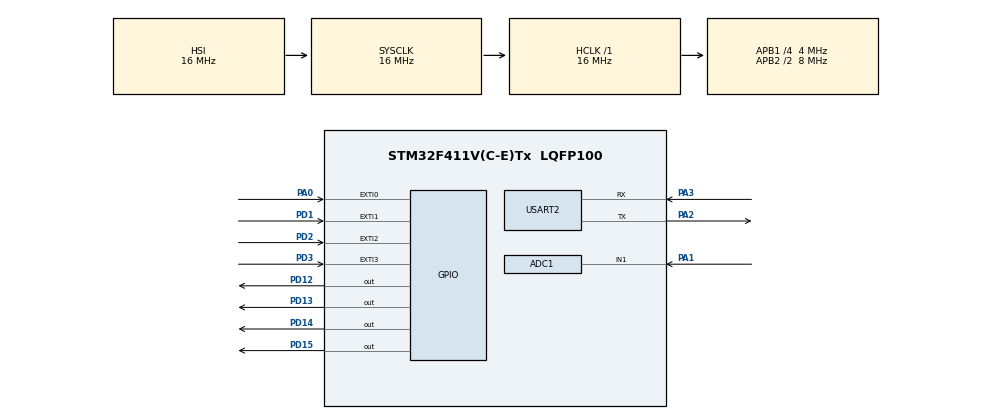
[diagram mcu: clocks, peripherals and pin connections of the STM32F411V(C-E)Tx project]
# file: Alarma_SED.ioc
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ADC1.Channel-0\#ChannelRegularConversion=ADC_CHANNEL_1
ADC1.NbrOfConversionFlag=1
ADC1.Rank-0\#ChannelRegularConversion=1
ADC1.Resolution=ADC_RESOLUTION_8B
ADC1.SamplingTime-0\#ChannelRegularConversion=ADC_SAMPLETIME_3CYCLES
ADC1.master=1
Mcu.Family=STM32F4
Mcu.Name=STM32F411V(C-E)Tx
Mcu.Package=LQFP100
NVIC.EXTI0_IRQn=true\:0\:0\:false\:false\:true\:true\:true\:true
NVIC.EXTI1_IRQn=true\:0\:0\:false\:false\:true\:true\:true\:true
NVIC.EXTI2_IRQn=true\:0\:0\:false\:false\:true\:true\:true\:true
NVIC.EXTI3_IRQn=true\:0\:0\:false\:false\:true\:true\:true\:true
NVIC.PriorityGroup=NVIC_PRIORITYGROUP_0
NVIC.TIM2_IRQn=true\:0\:0\:false\:false\:true\:true\:true\:true
PA0-WKUP.Signal=GPXTI0
PA1.Signal=ADCx_IN1
PA2.Mode=Asynchronous
PA2.Signal=USART2_TX
PA3.Mode=Asynchronous
PA3.Signal=USART2_RX
PD1.GPIO_PuPd=GPIO_PULLUP
PD1.Signal=GPXTI1
PD12.Signal=GPIO_Output
PD13.Signal=GPIO_Output
PD14.Signal=GPIO_Output
PD15.Signal=GPIO_Output
PD2.GPIO_PuPd=GPIO_PULLUP
PD2.Signal=GPXTI2
PD3.GPIO_PuPd=GPIO_PULLUP
PD3.Signal=GPXTI3
ProjectManager.HeapSize=0x200
ProjectManager.StackSize=0x400
ProjectManager.TargetToolchain=STM32CubeIDE
RCC.48MHZClocksFreq_Value=48000000
RCC.AHBFreq_Value=16000000
RCC.APB1CLKDivider=RCC_HCLK_DIV4
RCC.APB1Freq_Value=4000000
RCC.APB1TimFreq_Value=8000000
RCC.APB2CLKDivider=RCC_HCLK_DIV2
RCC.APB2Freq_Value=8000000
RCC.APB2TimFreq_Value=16000000
RCC.CortexFreq_Value=16000000
RCC.HCLKFreq_Value=16000000
RCC.HSE_VALUE=8000000
RCC.HSI_VALUE=16000000
RCC.LSE_VALUE=32768
RCC.PLLI2SM=5
RCC.PLLI2SN=200
RCC.PLLM=8
RCC.PLLP=RCC_PLLP_DIV4
RCC.PLLQ=8
RCC.SYSCLKFreq_VALUE=16000000
RCC.VCOOutputFreq_Value=384000000
SH.ADCx_IN1.0=ADC1_IN1,IN1
TIM2.CounterMode=TIM_COUNTERMODE_DOWN
TIM2.Period=5000-1
TIM2.Prescaler=16000-1
TIM2.TIM_MasterOutputTrigger=TIM_TRGO_RESET
USART2.VirtualMode=VM_ASYNC
VP_TIM2_VS_ClockSourceINT.Mode=Internal
board=STM32F411E-DISCO

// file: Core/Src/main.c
/* USER CODE BEGIN Header */
/**
  ******************************************************************************
  * @file           : main.c
  * @brief          : Main program body
  ******************************************************************************
  * @attention
  *
  * Copyright (c) 2024 STMicroelectronics.
  * All rights reserved.
  *
  * This software is licensed under terms that can be found in the LICENSE file
  * in the root directory of this software component.
  * If no LICENSE file comes with this software, it is provided AS-IS.
  *
  ******************************************************************************
  */
/* USER CODE END Header */
#include "main.h"

/* USER CODE BEGIN Includes */
#include <stdio.h>
#include <string.h>
/* USER CODE END Includes */

/* USER CODE BEGIN PD */
#define ALARM_OFF  0
#define ALARM_ON   1
#define ALARM_TEMP 2
#define ALARM_CALL 3

/* USER CODE END PD */

ADC_HandleTypeDef hadc1;

TIM_HandleTypeDef htim2;

UART_HandleTypeDef huart2;

void SystemClock_Config(void);
static void MX_GPIO_Init(void);
static void MX_TIM2_Init(void);
static void MX_USART2_UART_Init(void);
static void MX_ADC1_Init(void);

/* USER CODE BEGIN 0 */
uint8_t alarm_flag = 0;
uint8_t time_out = 0;
uint8_t n_digits = 0;
uint8_t password_in[3];
/* USER CODE END 0 */

int main(void)
{
  /* USER CODE BEGIN 1 */
	uint8_t state = ALARM_OFF;
	uint8_t password[3] = {1, 2, 3};
	uint8_t attempts = 3;
	uint32_t timeLed;
	char msg[50];
	uint32_t pot_val;

  /* USER CODE END 1 */

  /* MCU Configuration--------------------------------------------------------*/

  /* Reset of all peripherals, Initializes the Flash interface and the Systick. */
  HAL_Init();

  /* Configure the system clock */
  SystemClock_Config();

  /* Initialize all configured peripherals */
  MX_GPIO_Init();
  MX_TIM2_Init();
  MX_USART2_UART_Init();
  MX_ADC1_Init();

  /* Infinite loop */
  while (1)
  {

    /* USER CODE BEGIN 3 */
	  switch(state)
	  {
	  case ALARM_OFF:
		  if(alarm_flag)
		  {
			  HAL_GPIO_WritePin(GPIOD, GPIO_PIN_12, GPIO_PIN_SET);
			  sprintf(msg, "Introduce the password:\n");
			  HAL_UART_Transmit(&huart2, (uint8_t*)msg, strlen(msg), HAL_MAX_DELAY);
			  state = ALARM_ON;
		  }
		  break;

	  case ALARM_ON:
		  if(time_out)
		  {
			  HAL_GPIO_WritePin(GPIOD, GPIO_PIN_13, GPIO_PIN_SET);
			  state = ALARM_CALL;
		  }
		  else if(n_digits == 3) //Comprobación de la contraseña
		  {
			  if(password_in[0] == password[0] && password_in[1] == password[1] && password_in[2] == password[2])
			  {
				  sprintf(msg, "Correct password. Welcome!!\n");
				  HAL_UART_Transmit(&huart2, (uint8_t*)msg, strlen(msg), HAL_MAX_DELAY);
				  HAL_TIM_Base_Stop_IT(&htim2);
				  state = ALARM_TEMP;
			  }
			  else
			  {
				  sprintf(msg, "Incorrect password.\n");
				  HAL_UART_Transmit(&huart2, (uint8_t*)msg, strlen(msg), HAL_MAX_DELAY);
				  HAL_GPIO_WritePin(GPIOD, GPIO_PIN_14, GPIO_PIN_SET);
				  HAL_Delay(200);
				  HAL_GPIO_WritePin(GPIOD, GPIO_PIN_14, GPIO_PIN_RESET);
				  attempts--;
				  if(attempts == 0)
				  {
					  HAL_TIM_Base_Stop_IT(&htim2);
					  state = ALARM_CALL;
				  }
				  n_digits = 0;
			  }
			  HAL_NVIC_EnableIRQ(EXTI1_IRQn);
			  HAL_NVIC_EnableIRQ(EXTI2_IRQn);
			  HAL_NVIC_EnableIRQ(EXTI3_IRQn);
		  }
	  	  break;

	  case ALARM_TEMP:
		  HAL_GPIO_WritePin(GPIOD, GPIO_PIN_12, GPIO_PIN_RESET);
		  sprintf(msg, "What temperature do you want?\n");
		  HAL_UART_Transmit(&huart2, (uint8_t*)msg, strlen(msg), HAL_MAX_DELAY);
		  HAL_ADC_Start(&hadc1);
		  if(HAL_ADC_PollForConversion(&hadc1, HAL_MAX_DELAY) == HAL_OK)
		  {
			  pot_val = HAL_ADC_GetValue(&hadc1);
			  HAL_ADC_Stop(&hadc1);
		  }
		  sprintf(msg, "Desired temperature: %lu Celsius\n", ((pot_val*20)/255 + 15));
		  HAL_UART_Transmit(&huart2, (uint8_t*)msg, strlen(msg), HAL_MAX_DELAY);
		  HAL_Delay(10000);
		  break;

	  case ALARM_CALL:
		  timeLed = HAL_GetTick();
		  while(1)
		  {
			  if(HAL_GetTick() - timeLed > 800)
			  {
				 HAL_GPIO_WritePin(GPIOD, GPIO_PIN_15, GPIO_PIN_RESET);
				 HAL_GPIO_WritePin(GPIOD, GPIO_PIN_12, GPIO_PIN_SET);
				 timeLed = HAL_GetTick();
				 sprintf(msg, "Calling the police...\n");
				 HAL_UART_Transmit(&huart2, (uint8_t*)msg, strlen(msg), HAL_MAX_DELAY);
			  }
			  if(HAL_GetTick() - timeLed > 600)
			  {
				  HAL_GPIO_WritePin(GPIOD, GPIO_PIN_14, GPIO_PIN_RESET);
				  HAL_GPIO_WritePin(GPIOD, GPIO_PIN_15, GPIO_PIN_SET);
			  }
			  else if(HAL_GetTick() - timeLed > 400)
			  {
				  HAL_GPIO_WritePin(GPIOD, GPIO_PIN_13, GPIO_PIN_RESET);
				  HAL_GPIO_WritePin(GPIOD, GPIO_PIN_14, GPIO_PIN_SET);
			  }
			  else if(HAL_GetTick() - timeLed > 200)
			  {
				  HAL_GPIO_WritePin(GPIOD, GPIO_PIN_12, GPIO_PIN_RESET);
				  HAL_GPIO_WritePin(GPIOD, GPIO_PIN_13, GPIO_PIN_SET);
			  }
		  }
		  break;
	  }
  }
  /* USER CODE END 3 */
}

void SystemClock_Config(void)
{
  RCC_OscInitTypeDef RCC_OscInitStruct = {0};
  RCC_ClkInitTypeDef RCC_ClkInitStruct = {0};

  /** Configure the main internal regulator output voltage
  */
  __HAL_RCC_PWR_CLK_ENABLE();
  __HAL_PWR_VOLTAGESCALING_CONFIG(PWR_REGULATOR_VOLTAGE_SCALE1);

  /** Initializes the RCC Oscillators according to the specified parameters
  * in the RCC_OscInitTypeDef structure.
  */
  RCC_OscInitStruct.OscillatorType = RCC_OSCILLATORTYPE_HSI;
  RCC_OscInitStruct.HSIState = RCC_HSI_ON;
  RCC_OscInitStruct.HSICalibrationValue = RCC_HSICALIBRATION_DEFAULT;
  RCC_OscInitStruct.PLL.PLLState = RCC_PLL_NONE;
  if (HAL_RCC_OscConfig(&RCC_OscInitStruct) != HAL_OK)
  {
    Error_Handler();
  }

  /** Initializes the CPU, AHB and APB buses clocks
  */
  RCC_ClkInitStruct.ClockType = RCC_CLOCKTYPE_HCLK|RCC_CLOCKTYPE_SYSCLK
                              |RCC_CLOCKTYPE_PCLK1|RCC_CLOCKTYPE_PCLK2;
  RCC_ClkInitStruct.SYSCLKSource = RCC_SYSCLKSOURCE_HSI;
  RCC_ClkInitStruct.AHBCLKDivider = RCC_SYSCLK_DIV1;
  RCC_ClkInitStruct.APB1CLKDivider = RCC_HCLK_DIV4;
  RCC_ClkInitStruct.APB2CLKDivider = RCC_HCLK_DIV2;

  if (HAL_RCC_ClockConfig(&RCC_ClkInitStruct, FLASH_LATENCY_0) != HAL_OK)
  {
    Error_Handler();
  }
}

static void MX_ADC1_Init(void)
{

  ADC_ChannelConfTypeDef sConfig = {0};

  /** Configure the global features of the ADC (Clock, Resolution, Data Alignment and number of conversion)
  */
  hadc1.Instance = ADC1;
  hadc1.Init.ClockPrescaler = ADC_CLOCK_SYNC_PCLK_DIV2;
  hadc1.Init.Resolution = ADC_RESOLUTION_8B;
  hadc1.Init.ScanConvMode = DISABLE;
  hadc1.Init.ContinuousConvMode = DISABLE;
  hadc1.Init.DiscontinuousConvMode = DISABLE;
  hadc1.Init.ExternalTrigConvEdge = ADC_EXTERNALTRIGCONVEDGE_NONE;
  hadc1.Init.ExternalTrigConv = ADC_SOFTWARE_START;
  hadc1.Init.DataAlign = ADC_DATAALIGN_RIGHT;
  hadc1.Init.NbrOfConversion = 1;
  hadc1.Init.DMAContinuousRequests = DISABLE;
  hadc1.Init.EOCSelection = ADC_EOC_SINGLE_CONV;
  if (HAL_ADC_Init(&hadc1) != HAL_OK)
  {
    Error_Handler();
  }

  /** Configure for the selected ADC regular channel its corresponding rank in the sequencer and its sample time.
  */
  sConfig.Channel = ADC_CHANNEL_1;
  sConfig.Rank = 1;
  sConfig.SamplingTime = ADC_SAMPLETIME_3CYCLES;
  if (HAL_ADC_ConfigChannel(&hadc1, &sConfig) != HAL_OK)
  {
    Error_Handler();
  }

}

static void MX_TIM2_Init(void)
{

  TIM_ClockConfigTypeDef sClockSourceConfig = {0};
  TIM_MasterConfigTypeDef sMasterConfig = {0};

  htim2.Instance = TIM2;
  htim2.Init.Prescaler = 16000-1;
  htim2.Init.CounterMode = TIM_COUNTERMODE_DOWN;
  htim2.Init.Period = 5000-1;
  htim2.Init.ClockDivision = TIM_CLOCKDIVISION_DIV1;
  htim2.Init.AutoReloadPreload = TIM_AUTORELOAD_PRELOAD_DISABLE;
  if (HAL_TIM_Base_Init(&htim2) != HAL_OK)
  {
    Error_Handler();
  }
  sClockSourceConfig.ClockSource = TIM_CLOCKSOURCE_INTERNAL;
  if (HAL_TIM_ConfigClockSource(&htim2, &sClockSourceConfig) != HAL_OK)
  {
    Error_Handler();
  }
  sMasterConfig.MasterOutputTrigger = TIM_TRGO_RESET;
  sMasterConfig.MasterSlaveMode = TIM_MASTERSLAVEMODE_DISABLE;
  if (HAL_TIMEx_MasterConfigSynchronization(&htim2, &sMasterConfig) != HAL_OK)
  {
    Error_Handler();
  }

}

static void MX_USART2_UART_Init(void)
{

  huart2.Instance = USART2;
  huart2.Init.BaudRate = 115200;
  huart2.Init.WordLength = UART_WORDLENGTH_8B;
  huart2.Init.StopBits = UART_STOPBITS_1;
  huart2.Init.Parity = UART_PARITY_NONE;
  huart2.Init.Mode = UART_MODE_TX_RX;
  huart2.Init.HwFlowCtl = UART_HWCONTROL_NONE;
  huart2.Init.OverSampling = UART_OVERSAMPLING_16;
  if (HAL_UART_Init(&huart2) != HAL_OK)
  {
    Error_Handler();
  }

}

static void MX_GPIO_Init(void)
{
  GPIO_InitTypeDef GPIO_InitStruct = {0};

  /* GPIO Ports Clock Enable */
  __HAL_RCC_GPIOA_CLK_ENABLE();
  __HAL_RCC_GPIOD_CLK_ENABLE();

  /*Configure GPIO pin Output Level */
  HAL_GPIO_WritePin(GPIOD, GPIO_PIN_12|GPIO_PIN_13|GPIO_PIN_14|GPIO_PIN_15, GPIO_PIN_RESET);

  /*Configure GPIO pin : PA0 */
  GPIO_InitStruct.Pin = GPIO_PIN_0;
  GPIO_InitStruct.Mode = GPIO_MODE_IT_RISING;
  GPIO_InitStruct.Pull = GPIO_NOPULL;
  HAL_GPIO_Init(GPIOA, &GPIO_InitStruct);

  /*Configure GPIO pins : PD12 PD13 PD14 PD15 */
  GPIO_InitStruct.Pin = GPIO_PIN_12|GPIO_PIN_13|GPIO_PIN_14|GPIO_PIN_15;
  GPIO_InitStruct.Mode = GPIO_MODE_OUTPUT_PP;
  GPIO_InitStruct.Pull = GPIO_NOPULL;
  GPIO_InitStruct.Speed = GPIO_SPEED_FREQ_LOW;
  HAL_GPIO_Init(GPIOD, &GPIO_InitStruct);

  /*Configure GPIO pins : PD1 PD2 PD3 */
  GPIO_InitStruct.Pin = GPIO_PIN_1|GPIO_PIN_2|GPIO_PIN_3;
  GPIO_InitStruct.Mode = GPIO_MODE_IT_RISING;
  GPIO_InitStruct.Pull = GPIO_PULLUP;
  HAL_GPIO_Init(GPIOD, &GPIO_InitStruct);

  /* EXTI interrupt init*/
  HAL_NVIC_SetPriority(EXTI0_IRQn, 0, 0);
  HAL_NVIC_EnableIRQ(EXTI0_IRQn);

  HAL_NVIC_SetPriority(EXTI1_IRQn, 0, 0);
  HAL_NVIC_EnableIRQ(EXTI1_IRQn);

  HAL_NVIC_SetPriority(EXTI2_IRQn, 0, 0);
  HAL_NVIC_EnableIRQ(EXTI2_IRQn);

  HAL_NVIC_SetPriority(EXTI3_IRQn, 0, 0);
  HAL_NVIC_EnableIRQ(EXTI3_IRQn);

/* USER CODE BEGIN MX_GPIO_Init_2 */
  HAL_NVIC_DisableIRQ(EXTI1_IRQn);
  HAL_NVIC_DisableIRQ(EXTI2_IRQn);
  HAL_NVIC_DisableIRQ(EXTI3_IRQn);
/* USER CODE END MX_GPIO_Init_2 */
}

/* USER CODE BEGIN 4 */
void HAL_GPIO_EXTI_Callback(uint16_t GPIO_Pin)
{
	if(GPIO_Pin == GPIO_PIN_0)
	{
		alarm_flag = 1;
		__HAL_TIM_CLEAR_FLAG(&htim2, TIM_IT_UPDATE);
		HAL_TIM_Base_Start_IT(&htim2);
		HAL_NVIC_DisableIRQ(EXTI0_IRQn);
		HAL_NVIC_EnableIRQ(EXTI1_IRQn);
		HAL_NVIC_EnableIRQ(EXTI2_IRQn);
		HAL_NVIC_EnableIRQ(EXTI3_IRQn);
	}
	if(GPIO_Pin == GPIO_PIN_1)
	{
		password_in[n_digits++] = 1;
		HAL_NVIC_DisableIRQ(EXTI1_IRQn);
	}
	if(GPIO_Pin == GPIO_PIN_2)
	{
		password_in[n_digits++] = 2;
		HAL_NVIC_DisableIRQ(EXTI2_IRQn);
	}
	if(GPIO_Pin == GPIO_PIN_3)
	{
		password_in[n_digits++] = 3;
		HAL_NVIC_DisableIRQ(EXTI3_IRQn);
	}
}

void HAL_TIM_PeriodElapsedCallback(TIM_HandleTypeDef *htim)
{
	if(htim->Instance == TIM2)
	{
		time_out = 1;
		HAL_TIM_Base_Stop_IT(&htim2);
	}
}

/* USER CODE END 4 */

void Error_Handler(void)
{
  __disable_irq();
  while (1)
  {
  }
}
